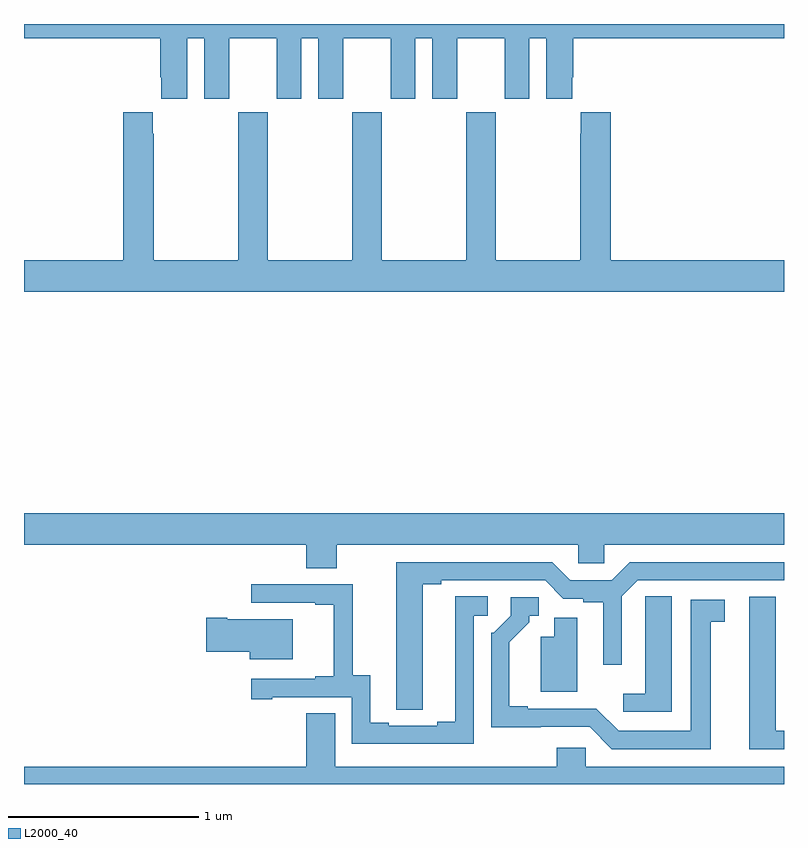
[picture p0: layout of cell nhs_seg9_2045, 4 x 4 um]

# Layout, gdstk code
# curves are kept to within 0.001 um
import gdstk
lib = gdstk.Library(unit=1e-6, precision=1e-09)
def P(c, l, *ps):  # polygons
    for p in ps: c.add(gdstk.Polygon(p, *l))
L2000_40 = (2000, 40)

nhs_seg9_2045 = lib.new_cell('nhs_seg9_2045')
P(nhs_seg9_2045, L2000_40, [(227.86,1192.424),(227.948,1192.424),(227.948,1192.107),(228.079,1192.107),(228.079,1192.424),(228.329,1192.424),(228.329,1192.107),(228.46,1192.107),(228.46,1192.424),(228.548,1192.424),(228.548,1192.107),(228.679,1192.107),(228.679,1192.424),(228.929,1192.424),(228.929,1192.107),(229.06,1192.107),(229.06,1192.424),(229.148,1192.424),(229.148,1192.107),(229.279,1192.107),(229.279,1192.424),(229.529,1192.424),(229.529,1192.107),(229.66,1192.107),(229.66,1192.424),(229.748,1192.424),(229.748,1192.107),(229.885,1192.107),(229.885,1192.219),(229.892,1192.219),(229.892,1192.424),(231,1192.424),(231,1192.5),(227,1192.5),(227,1192.424),(227.717,1192.424),(227.717,1192.219),(227.723,1192.219),(227.723,1192.107),(227.86,1192.107)],
  [(231,1191.256),(230.087,1191.256),(230.087,1192.036),(229.931,1192.036),(229.931,1191.923),(229.927,1191.923),(229.927,1191.256),(229.482,1191.256),(229.482,1192.036),(229.327,1192.036),(229.327,1191.256),(228.882,1191.256),(228.882,1192.036),(228.727,1192.036),(228.727,1191.256),(228.282,1191.256),(228.282,1192.036),(228.127,1192.036),(228.127,1191.256),(227.682,1191.256),(227.682,1191.923),(227.677,1191.923),(227.677,1192.036),(227.522,1192.036),(227.522,1191.256),(227,1191.256),(227,1191.092),(231,1191.092)],
  [(228.645,1189.76),(229.917,1189.76),(229.917,1189.662),(230.055,1189.662),(230.055,1189.76),(231,1189.76),(231,1189.924),(227,1189.924),(227,1189.76),(228.485,1189.76),(228.485,1189.636),(228.645,1189.636)],
  [(229.099,1189.552),(229.195,1189.552),(229.195,1189.572),(229.743,1189.572),(229.839,1189.476),(229.944,1189.476),(229.944,1189.456),(230.048,1189.456),(230.048,1189.128),(230.145,1189.128),(230.145,1189.488),(230.229,1189.572),(231,1189.572),(231,1189.668),(230.189,1189.668),(230.093,1189.572),(229.875,1189.572),(229.779,1189.668),(228.959,1189.668),(228.96,1188.892),(229.099,1188.892)],
  [(229.368,1189.386),(229.441,1189.386),(229.441,1189.487),(229.271,1189.487),(229.271,1188.827),(229.175,1188.827),(229.175,1188.807),(228.919,1188.807),(228.919,1188.822),(228.823,1188.822),(228.823,1189.073),(228.729,1189.073),(228.729,1189.551),(228.195,1189.551),(228.195,1189.455),(228.533,1189.455),(228.533,1189.443),(228.629,1189.443),(228.629,1189.066),(228.533,1189.066),(228.533,1189.053),(228.195,1189.053),(228.195,1188.945),(228.307,1188.945),(228.307,1188.957),(228.726,1188.957),(228.726,1188.711),(229.368,1188.711)],
  [(230.41,1189.487),(230.271,1189.487),(230.271,1189.379),(230.27,1189.379),(230.27,1188.976),(230.154,1188.976),(230.154,1188.879),(230.41,1188.879)],
  [(231,1188.78),(230.956,1188.78),(230.956,1189.486),(230.816,1189.486),(230.816,1188.684),(231,1188.684)],
  [(230.614,1189.354),(230.689,1189.354),(230.689,1189.47),(230.51,1189.47),(230.51,1188.78),(230.13,1188.78),(230.013,1188.897),(229.651,1188.897),(229.651,1188.91),(229.555,1188.91),(229.555,1189.246),(229.66,1189.351),(229.66,1189.386),(229.71,1189.386),(229.71,1189.482),(229.563,1189.482),(229.563,1189.386),(229.473,1189.296),(229.458,1189.296),(229.458,1188.8),(229.977,1188.801),(230.094,1188.684),(230.614,1188.684)],
  [(229.912,1189.374),(229.79,1189.374),(229.79,1189.276),(229.721,1189.276),(229.721,1188.986),(229.912,1188.986)],
  [(228.415,1189.366),(228.07,1189.366),(228.07,1189.374),(227.958,1189.374),(227.958,1189.196),(228.188,1189.196),(228.188,1189.157),(228.415,1189.157)],
  [(231,1188.592),(229.956,1188.592),(229.956,1188.69),(229.805,1188.69),(229.805,1188.592),(228.637,1188.592),(228.637,1188.872),(228.485,1188.872),(228.485,1188.592),(227,1188.592),(227,1188.5),(231,1188.5)])

lib.write_gds('nhs_seg9_2045.gds')
